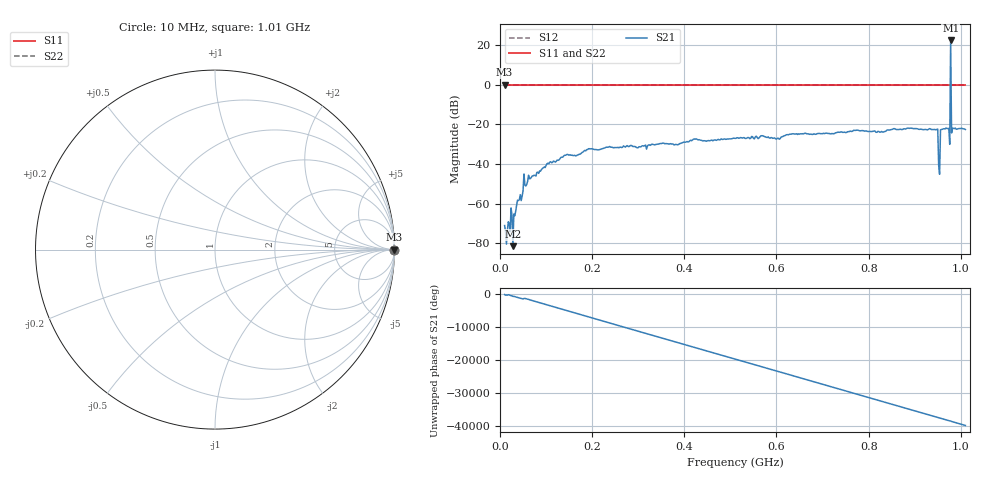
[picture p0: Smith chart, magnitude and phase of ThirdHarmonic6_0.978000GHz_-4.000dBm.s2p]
! 8/16/2025 7:31:43 AM
! C:\ANRITSUVNA\TEMP\TEMP.S2P
! CHANNEL.1
! TR.MEASUREMENT
! RAW.DATA
! RF.CORRECTION.OFF
! AVERAGING.OFF
! IF.BANDWIDTH: 5KHZ
! SWEEPTYPE:  FREQ.SWEEP(Linear)
! Reference Plane Port Info
! PORT:  PORT1  PORT2
! DISTANCE:  0  m  0  m
! TIME:  0  s  0  s
! PHASE.OFFSET:  0  deg.  0  deg.
! LOSS:  0  dB  0  dB
! REF.LOSS:  0  dB  0  dB
! REF.FREQ:  0  Hz  0  Hz
! Power Info
! POWER:  -20  dBm  -20  dBm
! EFF.POWER:  -20  dBm  -20  dBm
! SOURCE.ATTEN:  0  dB  0  dB
! TEST.ATTEN:  0  dB  0  dB
# GHZ S RI R 50.0
! FREQ.GHZ  S11RE  S11IM  S21RE  S21IM  S12RE  S12IM  S22RE  S22IM
!; PortSelection: Port_12
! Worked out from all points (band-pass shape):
!   501 points, 10 MHz to 1.01 GHz, reference 50 ohm
!   highest |S21| = 22.35 dB at 978 MHz (marker M1); lowest = -81.5 dB at 28 MHz (marker M2)
!   |S21| within 3 dB of the highest: 977.8856 MHz to 978.1284 MHz (242.8 kHz wide, 0.0248 % of centre)
!   lowest |S11| = 0.0 dB at 10 MHz (marker M3)
!   |S11| at or under -10 dB: nowhere
!   |S22| runs from 0.0 to 0.0 dB; largest |S21 - S12| = 14
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0.01  1 0  2.01e-05 -0.000278  1 0  1 0
0.018  1 0  -0.000251 -0.00024  1 0  1 0
0.022  1 0  0.000163 0.000106  1 0  1 0
0.028  1 0  1.32e-05 8.3e-05  1 0  1 0
0.054  1 0  -0.00293 -0.00034  1 0  1 0
0.066  1 0  0.00197 0.00381  1 0  1 0
0.106  1 0  -0.00719 -0.00714  1 0  1 0
0.178  1 0  -0.0188 -0.00494  1 0  1 0
0.344  1 0  0.0313 -0.00452  1 0  1 0
0.51  1 0  -0.0428 0.0113  1 0  1 0
0.678  1 0  -0.0159 -0.0531  1 0  1 0
0.844  1 0  0.0382 0.0605  1 0  1 0
0.946  1 0  -0.0018 -0.0723  1 0  1 0
0.95  1 0  -0.0245 0.0719  1 0  1 0
0.956  1 0  -0.0516 -0.0509  1 0  1 0
0.96  1 0  0.0294 0.0689  1 0  1 0
0.972  1 0  0.0414 -0.0666  1 0  1 0
0.974  1 0  -0.0581 -0.0529  1 0  1 0
0.978  1 0  -7.422 10.8  1 0  1 0
0.982  1 0  -0.015 -0.078  1 0  1 0
0.984  1 0  -0.0791 0.00412  1 0  1 0
1.01  1 0  -0.0649 -0.0357  1 0  1 0
